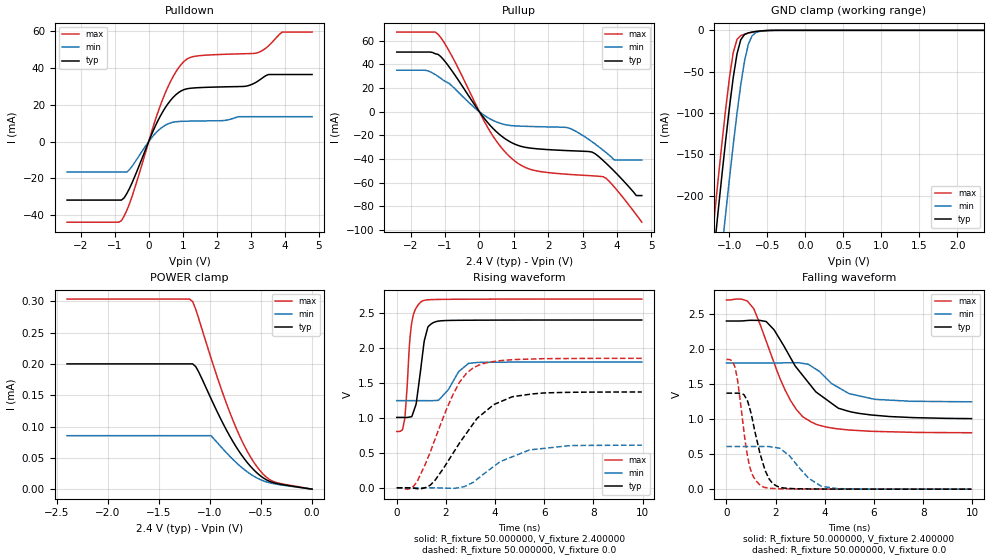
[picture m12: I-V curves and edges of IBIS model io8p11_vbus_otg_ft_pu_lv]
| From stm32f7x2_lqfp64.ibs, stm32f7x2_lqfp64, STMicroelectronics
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|   Model io8p11_vbus_otg_ft_pu_lv
[Model]  io8p11_vbus_otg_ft_pu_lv
Model_type I/O
Polarity   Non-Inverting
Enable   Active-Low
Vinl =   0.720000V
Vinh =   1.680000V
Vmeas =  1.200000V
Cref =   30.000000pF
Rref =   100.000000M
Vref =   0.0V
C_comp   3.193600pF   3.100000pF   3.332100pF
[Temperature Range]   25.000000   0.125000k   -40.000000
[Pullup Reference]   2.400000V   1.800000V   2.700000V
[Pulldown Reference]   0.0V   0.0V   0.0V
[POWER Clamp Reference]   2.400000V   1.800000V   2.700000V
[GND Clamp Reference]   0.0V   0.0V   0.0V
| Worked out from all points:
|   slope of the pulldown table from 0 to 0.36 V, typ, clamps not added: 25 ohm
|   slope of the pullup table from 0 to 0.36 V, typ, clamps not added: 27.7 ohm
|   GND clamp passes 1 mA (typ) near -0.61 V on its own axis
|   rising waveform, R_fixture 50.000000, V_fixture 2.400000: 20-80 % time 311ps typ, 636ps min, 224ps max; typ from 1.01 V to 2.4 V
|   rising waveform, R_fixture 50.000000, V_fixture 0.0: 20-80 % time 1.73ns typ, 1.75ns min, 1.31ns max; typ from 0.001 V to 1.37 V
|   falling waveform, R_fixture 50.000000, V_fixture 2.400000: 20-80 % time 1.84ns typ, 1.32ns min, 1.36ns max; typ from 2.4 V to 1.01 V
|   falling waveform, R_fixture 50.000000, V_fixture 0.0: 20-80 % time 577ps typ, 977ps min, 436ps max; typ from 1.37 V to 0.001 V
[Pulldown]
|Voltage   I(typ)   I(min)   I(max)
-2.4V     -31.69mA   -16.5mA    -43.66mA
-800mV    -31.69mA   -16.5mA    -42.82mA
-480mV    -21.96mA   -13.17mA   -29.19mA
80mV      3.63mA     1.966mA    5.014mA
480mV     18.16mA    8.738mA    26.02mA
800mV     25.38mA    10.72mA    37.77mA
1.12V     28.53mA    11.02mA    44.6mA
2.8V      29.84mA    13.46mA    47.53mA
3.2V      32.6mA     13.46mA    48.03mA
3.52V     36.28mA    13.46mA    51.75mA
3.92V     36.28mA    13.46mA    59.24mA
4.8V      36.28mA    13.46mA    59.24mA
[Pullup]
|Voltage   I(typ)   I(min)   I(max)
-2.4V     50.44mA    35.08mA    67.32mA
-1.52V    50.44mA    34.74mA    67.32mA
-1.2V     48.5mA     29.88mA    65.48mA
320mV     -11.75mA   -6.207mA   -17.08mA
1.04V     -27.53mA   -11.97mA   -41.91mA
1.6V      -31.13mA   -12.57mA   -49.63mA
2.56V     -32.88mA   -13.49mA   -52.9mA
3.28V     -34.19mA   -25.52mA   -54.18mA
3.6V      -41.31mA   -32.62mA   -54.98mA
3.92V     -50.32mA   -40.8mA    -63.62mA
4.56V     -70.9mA    -40.8mA    -87.07mA
4.72V     -70.9mA    -40.8mA    -93.4mA
[GND_clamp]
|Voltage   I(typ)   I(min)   I(max)
-2.4V     -1.424A    -1.508A    -1.393A
-1.25V    -311.3mA   -401.9mA   -273.4mA
-1.2V     -265.5mA   -356.1mA   -227.3mA
-1.15V    -220.5mA   -310.9mA   -182mA
-1.1V     -176.4mA   -266.2mA   -138mA
-1.05V    -133.9mA   -222.5mA   -96.06mA
-950mV    -57.51mA   -139mA     -27.35mA
-900mV    -28.55mA   -100.5mA   -11.03mA
-850mV    -11.33mA   -65.67mA   -6.322mA
-750mV    -3.069mA   -16.69mA   -3.425mA
-600mV    -864.6uA   -1.294mA   -852.2uA
2.35V     0A         0A         0A
[POWER_clamp]
|Voltage   I(typ)   I(min)   I(max)
-2.4V     200uA      85.42uA    303.5uA
-1.2V     200uA      85.42uA    303.5uA
-1.17V    200uA      85.42uA    299.5uA
-1.14V    195.7uA    85.42uA    287.5uA
-990mV    144.6uA    85.42uA    209.3uA
-870mV    104.1uA    63.64uA    150.8uA
-780mV    77.28uA    48.22uA    111.8uA
-660mV    47.71uA    30.77uA    68.21uA
-570mV    30.64uA    20.64uA    42.8uA
-480mV    18.19uA    13.46uA    24.07uA
-390mV    10.91uA    9.255uA    13.01uA
0V        0A         0A         0A
[Ramp]
| variable   typ   min   max
dV/dt_r  0.82171/1.73008n   0.36497/1.74767n   1.11077/1.30881n
dV/dt_f  0.83202/1.83382n   0.33210/1.34052n   1.13534/1.35770n
R_load = 50.000000
[Rising Waveform]
R_fixture= 50.000000
V_fixture= 2.400000
V_fixture_min= 1.800000
V_fixture_max= 2.700000
|time   V(typ)   V(min)   V(max)
0s        1.007V     1.247V     805.7mV
320.3ps   1.007V     1.247V     978.4mV
540.5ps   1.014V     1.247V     2.149V
620.6ps   1.026V     1.247V     2.378V
800.8ps   1.227V     1.247V     2.578V
1.021ns   1.826V     1.247V     2.667V
1.261ns   2.291V     1.247V     2.689V
1.682ns   2.384V     1.251V     2.694V
2.923ns   2.397V     1.78V      2.697V
9.97ns    2.4V       1.8V       2.699V
[Rising Waveform]
R_fixture= 50.000000
V_fixture= 0.0
V_fixture_min= 0.0
V_fixture_max= 0.0
|time   V(typ)   V(min)   V(max)
0s        1.051mV    906.3uV    1.406mV
560.6ps   -1.07mV    889uV      -7.044mV
840.8ps   -11.79mV   892.7uV    98.35mV
1.361ns   38.07mV    925.9uV    509.7mV
2.282ns   490.2mV    -6.145mV   1.329V
2.563ns   645.6mV    5.341mV    1.515V
3.123ns   922.5mV    81.83mV    1.718V
3.964ns   1.193V     310.8mV    1.808V
5.405ns   1.338V     542.2mV    1.841V
9.97ns    1.371V     610.1mV    1.852V
[Falling Waveform]
R_fixture= 50.000000
V_fixture= 2.400000
V_fixture_min= 1.800000
V_fixture_max= 2.700000
|time   V(typ)   V(min)   V(max)
0s        2.4V       1.8V       2.699V
680.7ps   2.402V     1.8V       2.705V
1.101ns   2.41V      1.8V       2.58V
1.622ns   2.391V     1.8V       2.108V
2.382ns   2.015V     1.803V     1.419V
2.843ns   1.738V     1.805V     1.138V
3.443ns   1.474V     1.757V     960.6mV
4.545ns   1.158V     1.454V     860.8mV
5.005ns   1.109V     1.363V     844.8mV
9.97ns    1.007V     1.247V     805.7mV
[Falling Waveform]
R_fixture= 50.000000
V_fixture= 0.0
V_fixture_min= 0.0
V_fixture_max= 0.0
|time   V(typ)   V(min)   V(max)
0s        1.371V     610.1mV    1.852V
240.2ps   1.371V     610.2mV    1.832V
360.4ps   1.371V     610.2mV    1.724V
860.9ps   1.257V     610mV      461.2mV
1.041ns   1.021V     609.8mV    217mV
1.441ns   420.4mV    610.1mV    41.87mV
1.722ns   155.7mV    610mV      14.87mV
2.042ns   46.2mV     592.2mV    8.041mV
3.864ns   3.013mV    43.41mV    2.226mV
9.97ns    1.051mV    906.3uV    1.406mV
